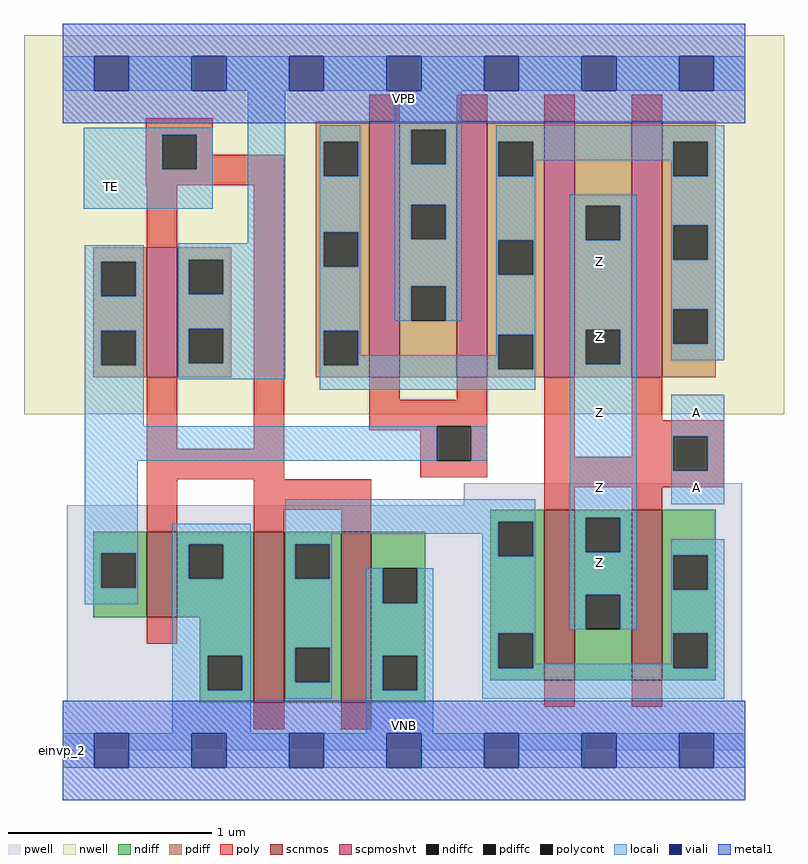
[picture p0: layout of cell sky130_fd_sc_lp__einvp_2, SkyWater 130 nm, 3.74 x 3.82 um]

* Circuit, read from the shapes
.subckt sky130_fd_sc_lp__einvp_2 A TE VGND VNB VPB VPWR Z
XM1 VGND TE n1 VNB sky130_fd_pr__nfet_01v8 w=0.42 l=0.15
XM2 n2 TE VGND VNB sky130_fd_pr__nfet_01v8 w=0.84 l=0.15 m=2
XM3 Z A n2 VNB sky130_fd_pr__nfet_01v8 w=0.84 l=0.15 m=2
XM4 VPWR TE n1 VPB sky130_fd_pr__pfet_01v8_hvt w=0.64 l=0.15
XM5 VPWR n1 n3 VPB sky130_fd_pr__pfet_01v8_hvt w=1.26 l=0.15 m=2
XM6 Z A n3 VPB sky130_fd_pr__pfet_01v8_hvt w=1.26 l=0.15 m=2
.ends

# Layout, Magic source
magic
tech sky130A
magscale 1 2
<< nwell >>
rect -38 331 710 704
<< pwell >>
rect 395 241 669 263
rect 4 49 669 241
rect 0 0 672 49
<< scnmos >>
rect 83 131 113 215
rect 188 47 218 215
rect 274 47 304 215
rect 474 69 504 237
rect 560 69 590 237
<< scpmoshvt >>
rect 83 367 113 495
rect 302 367 332 619
rect 388 367 418 619
rect 474 367 504 619
rect 560 367 590 619
<< ndiff >>
rect 421 225 474 237
rect 30 194 83 215
rect 30 160 38 194
rect 72 160 83 194
rect 30 131 83 160
rect 113 203 188 215
rect 113 169 124 203
rect 158 169 188 203
rect 113 131 188 169
rect 135 93 188 131
rect 135 59 143 93
rect 177 59 188 93
rect 135 47 188 59
rect 218 203 274 215
rect 218 169 229 203
rect 263 169 274 203
rect 218 101 274 169
rect 218 67 229 101
rect 263 67 274 101
rect 218 47 274 67
rect 304 179 357 215
rect 304 145 315 179
rect 349 145 357 179
rect 304 93 357 145
rect 304 59 315 93
rect 349 59 357 93
rect 421 191 429 225
rect 463 191 474 225
rect 421 115 474 191
rect 421 81 429 115
rect 463 81 474 115
rect 421 69 474 81
rect 504 229 560 237
rect 504 195 515 229
rect 549 195 560 229
rect 504 153 560 195
rect 504 119 515 153
rect 549 119 560 153
rect 504 69 560 119
rect 590 192 643 237
rect 590 158 601 192
rect 635 158 643 192
rect 590 115 643 158
rect 590 81 601 115
rect 635 81 643 115
rect 590 69 643 81
rect 304 47 357 59
<< pdiff >>
rect 249 599 302 619
rect 30 481 83 495
rect 30 447 38 481
rect 72 447 83 481
rect 30 413 83 447
rect 30 379 38 413
rect 72 379 83 413
rect 30 367 83 379
rect 113 483 166 495
rect 113 449 124 483
rect 158 449 166 483
rect 113 415 166 449
rect 113 381 124 415
rect 158 381 166 415
rect 113 367 166 381
rect 249 565 257 599
rect 291 565 302 599
rect 249 510 302 565
rect 249 476 257 510
rect 291 476 302 510
rect 249 413 302 476
rect 249 379 257 413
rect 291 379 302 413
rect 249 367 302 379
rect 332 611 388 619
rect 332 577 343 611
rect 377 577 388 611
rect 332 537 388 577
rect 332 503 343 537
rect 377 503 388 537
rect 332 457 388 503
rect 332 423 343 457
rect 377 423 388 457
rect 332 367 388 423
rect 418 599 474 619
rect 418 565 429 599
rect 463 565 474 599
rect 418 502 474 565
rect 418 468 429 502
rect 463 468 474 502
rect 418 409 474 468
rect 418 375 429 409
rect 463 375 474 409
rect 418 367 474 375
rect 504 536 560 619
rect 504 502 515 536
rect 549 502 560 536
rect 504 414 560 502
rect 504 380 515 414
rect 549 380 560 414
rect 504 367 560 380
rect 590 599 643 619
rect 590 565 601 599
rect 635 565 643 599
rect 590 517 643 565
rect 590 483 601 517
rect 635 483 643 517
rect 590 434 643 483
rect 590 400 601 434
rect 635 400 643 434
rect 590 367 643 400
<< ndiffc >>
rect 38 160 72 194
rect 124 169 158 203
rect 143 59 177 93
rect 229 169 263 203
rect 229 67 263 101
rect 315 145 349 179
rect 315 59 349 93
rect 429 191 463 225
rect 429 81 463 115
rect 515 195 549 229
rect 515 119 549 153
rect 601 158 635 192
rect 601 81 635 115
<< pdiffc >>
rect 38 447 72 481
rect 38 379 72 413
rect 124 449 158 483
rect 124 381 158 415
rect 257 565 291 599
rect 257 476 291 510
rect 257 379 291 413
rect 343 577 377 611
rect 343 503 377 537
rect 343 423 377 457
rect 429 565 463 599
rect 429 468 463 502
rect 429 375 463 409
rect 515 502 549 536
rect 515 380 549 414
rect 601 565 635 599
rect 601 483 635 517
rect 601 400 635 434
<< poly >>
rect 82 606 148 622
rect 302 619 332 645
rect 388 619 418 645
rect 474 619 504 645
rect 560 619 590 645
rect 82 572 98 606
rect 132 586 148 606
rect 132 572 218 586
rect 82 556 218 572
rect 83 495 113 556
rect 83 297 113 367
rect 188 297 218 556
rect 302 345 332 367
rect 388 345 418 367
rect 302 319 418 345
rect 302 315 368 319
rect 83 267 218 297
rect 352 285 368 315
rect 402 285 418 319
rect 352 269 418 285
rect 474 289 504 367
rect 560 325 590 367
rect 560 309 651 325
rect 560 289 601 309
rect 474 275 601 289
rect 635 275 651 309
rect 83 215 113 267
rect 188 237 304 267
rect 474 259 651 275
rect 474 237 504 259
rect 560 237 590 259
rect 188 215 218 237
rect 274 215 304 237
rect 83 105 113 131
rect 188 21 218 47
rect 274 21 304 47
rect 474 43 504 69
rect 560 43 590 69
<< polycont >>
rect 98 572 132 606
rect 368 285 402 319
rect 601 275 635 309
<< locali >>
rect 0 649 31 683
rect 65 649 127 683
rect 161 649 223 683
rect 257 649 319 683
rect 353 649 415 683
rect 449 649 511 683
rect 545 649 607 683
rect 641 649 672 683
rect 21 606 148 613
rect 21 572 98 606
rect 132 572 148 606
rect 21 533 148 572
rect 182 499 219 649
rect 22 481 80 497
rect 22 447 38 481
rect 72 447 80 481
rect 22 413 80 447
rect 22 379 38 413
rect 72 379 80 413
rect 22 319 80 379
rect 114 483 219 499
rect 114 449 124 483
rect 158 449 219 483
rect 114 415 219 449
rect 114 381 124 415
rect 158 381 219 415
rect 114 365 219 381
rect 253 599 293 615
rect 253 565 257 599
rect 291 565 293 599
rect 253 510 293 565
rect 253 476 257 510
rect 291 476 293 510
rect 253 413 293 476
rect 327 611 393 649
rect 327 577 343 611
rect 377 577 393 611
rect 327 537 393 577
rect 327 503 343 537
rect 377 503 393 537
rect 327 457 393 503
rect 327 423 343 457
rect 377 423 393 457
rect 427 599 651 615
rect 427 565 429 599
rect 463 581 601 599
rect 463 565 465 581
rect 427 502 465 565
rect 599 565 601 581
rect 635 565 651 599
rect 427 468 429 502
rect 463 468 465 502
rect 253 379 257 413
rect 291 389 293 413
rect 427 409 465 468
rect 427 389 429 409
rect 291 379 429 389
rect 253 375 429 379
rect 463 375 465 409
rect 253 355 465 375
rect 499 536 565 547
rect 499 502 515 536
rect 549 502 565 536
rect 499 414 565 502
rect 499 380 515 414
rect 549 380 565 414
rect 599 517 651 565
rect 599 483 601 517
rect 635 483 651 517
rect 599 434 651 483
rect 599 400 601 434
rect 635 400 651 434
rect 599 384 651 400
rect 22 285 368 319
rect 402 285 418 319
rect 22 194 74 285
rect 219 225 465 247
rect 22 160 38 194
rect 72 160 74 194
rect 22 144 74 160
rect 108 203 185 223
rect 108 169 124 203
rect 158 169 185 203
rect 108 93 185 169
rect 108 59 143 93
rect 177 59 185 93
rect 108 17 185 59
rect 219 213 429 225
rect 219 203 265 213
rect 219 169 229 203
rect 263 169 265 203
rect 413 191 429 213
rect 463 191 465 225
rect 219 101 265 169
rect 219 67 229 101
rect 263 67 265 101
rect 219 51 265 67
rect 299 145 315 179
rect 349 145 365 179
rect 299 93 365 145
rect 299 59 315 93
rect 349 59 365 93
rect 299 17 365 59
rect 413 115 465 191
rect 499 229 565 380
rect 599 309 651 350
rect 599 275 601 309
rect 635 275 651 309
rect 599 242 651 275
rect 499 195 515 229
rect 549 195 565 229
rect 499 153 565 195
rect 499 119 515 153
rect 549 119 565 153
rect 599 192 651 208
rect 599 158 601 192
rect 635 158 651 192
rect 413 81 429 115
rect 463 85 465 115
rect 599 115 651 158
rect 599 85 601 115
rect 463 81 601 85
rect 635 81 651 115
rect 413 51 651 81
rect 0 -17 31 17
rect 65 -17 127 17
rect 161 -17 223 17
rect 257 -17 319 17
rect 353 -17 415 17
rect 449 -17 511 17
rect 545 -17 607 17
rect 641 -17 672 17
<< viali >>
rect 31 649 65 683
rect 127 649 161 683
rect 223 649 257 683
rect 319 649 353 683
rect 415 649 449 683
rect 511 649 545 683
rect 607 649 641 683
rect 31 -17 65 17
rect 127 -17 161 17
rect 223 -17 257 17
rect 319 -17 353 17
rect 415 -17 449 17
rect 511 -17 545 17
rect 607 -17 641 17
<< metal1 >>
rect 0 683 672 715
rect 0 649 31 683
rect 65 649 127 683
rect 161 649 223 683
rect 257 649 319 683
rect 353 649 415 683
rect 449 649 511 683
rect 545 649 607 683
rect 641 649 672 683
rect 0 617 672 649
rect 0 17 672 49
rect 0 -17 31 17
rect 65 -17 127 17
rect 161 -17 223 17
rect 257 -17 319 17
rect 353 -17 415 17
rect 449 -17 511 17
rect 545 -17 607 17
rect 641 -17 672 17
rect 0 -49 672 -17
<< labels >>
flabel pwell s 0 0 672 49 0 FreeSans 200 0 0 0 VNB
port 4 nsew ground bidirectional
flabel nwell s 0 617 672 666 0 FreeSans 200 0 0 0 VPB
port 5 nsew power bidirectional
rlabel comment s 0 0 0 0 4 einvp_2
flabel metal1 s 0 617 672 666 0 FreeSans 340 0 0 0 VPWR
port 6 nsew power bidirectional
flabel metal1 s 0 0 672 49 0 FreeSans 340 0 0 0 VGND
port 3 nsew ground bidirectional
flabel locali s 511 168 545 202 0 FreeSans 340 0 0 0 Z
port 7 nsew signal output
flabel locali s 511 242 545 276 0 FreeSans 340 0 0 0 Z
port 7 nsew signal output
flabel locali s 511 316 545 350 0 FreeSans 340 0 0 0 Z
port 7 nsew signal output
flabel locali s 511 390 545 424 0 FreeSans 340 0 0 0 Z
port 7 nsew signal output
flabel locali s 511 464 545 498 0 FreeSans 340 0 0 0 Z
port 7 nsew signal output
flabel locali s 607 242 641 276 0 FreeSans 340 0 0 0 A
port 1 nsew signal input
flabel locali s 607 316 641 350 0 FreeSans 340 0 0 0 A
port 1 nsew signal input
flabel locali s 31 538 65 572 0 FreeSans 340 0 0 0 TE
port 2 nsew signal input
<< properties >>
string LEFsite unit
string LEFclass CORE
string FIXED_BBOX 0 0 672 666
string GDS_FILE $PDKPATH/libs.ref/sky130_fd_sc_lp/gds/sky130_fd_sc_lp.gds
string LEFsymmetry X Y R90
string GDS_END 3023240
string GDS_START 3016202
<< end >>
